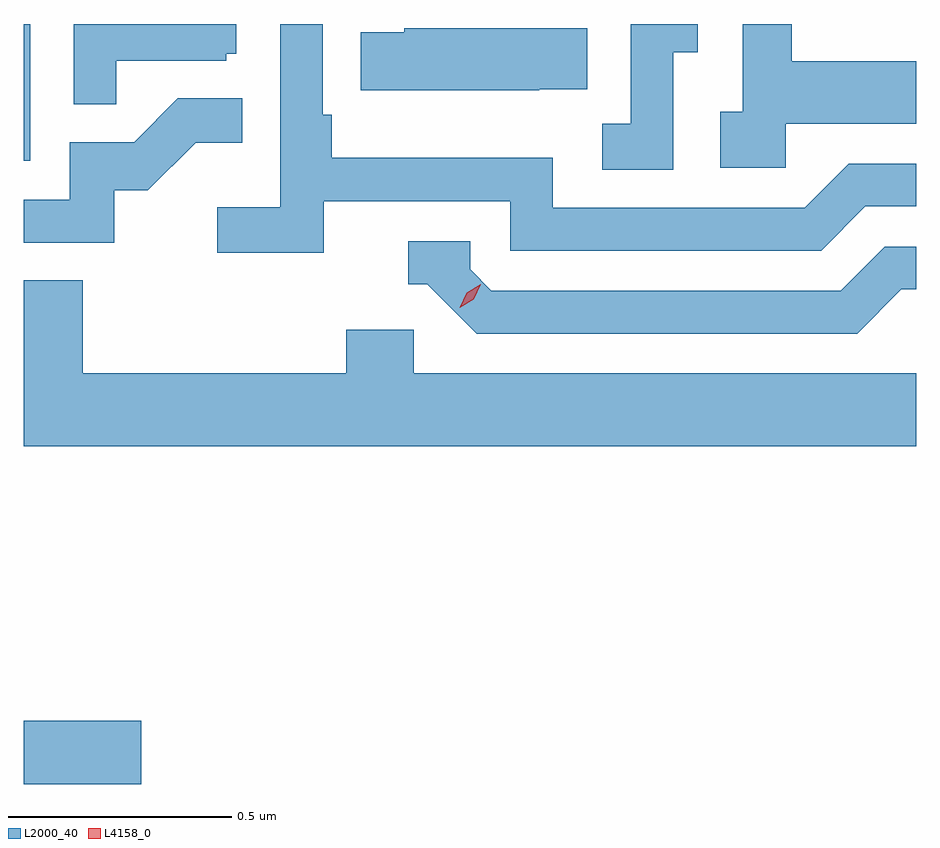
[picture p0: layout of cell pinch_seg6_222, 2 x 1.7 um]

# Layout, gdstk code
import gdstk
lib = gdstk.Library(unit=1e-6, precision=1e-09)
def R(c, l, rs):  # rectangles x0, y0, x1, y1
    for r in rs: c.add(gdstk.rectangle(r[:2], r[2:], *l))
def P(c, l, *ps):  # polygons
    for p in ps: c.add(gdstk.Polygon(p, *l))
L2000_40 = (2000, 40)
L4158_0 = (4158, 0)

pinch_seg6_222 = lib.new_cell('pinch_seg6_222')
R(pinch_seg6_222, L2000_40, [(1132.058,926.599,1132.321,926.741), (1132.058,927.996,1132.072,928.303)])
P(pinch_seg6_222, L2000_40, [(1132.73,927.906),(1133.148,927.906),(1133.148,927.795),(1133.845,927.795),(1133.944,927.894),(1134.058,927.894),(1134.058,927.99),(1133.907,927.99),(1133.808,927.891),(1133.244,927.891),(1133.244,928.003),(1132.748,928.003),(1132.748,928.099),(1132.728,928.099),(1132.728,928.303),(1132.632,928.303),(1132.632,927.892),(1132.491,927.892),(1132.491,927.79),(1132.73,927.79)],
  [(1132.265,928.221),(1132.512,928.221),(1132.512,928.236),(1132.534,928.236),(1132.534,928.303),(1132.17,928.303),(1132.17,928.123),(1132.265,928.123)],
  [(1133.514,928.24),(1133.569,928.24),(1133.569,928.303),(1133.418,928.303),(1133.418,928.079),(1133.355,928.079),(1133.355,927.976),(1133.514,927.976)],
  [(1133.766,928.079),(1134.058,928.079),(1134.058,928.219),(1133.779,928.219),(1133.779,928.303),(1133.67,928.303),(1133.67,928.106),(1133.619,928.106),(1133.619,927.981),(1133.766,927.981)],
  [(1133.213,928.157),(1133.321,928.157),(1133.321,928.294),(1132.911,928.294),(1132.911,928.284),(1132.813,928.284),(1132.813,928.154),(1133.213,928.154)],
  [(1132.26,927.93),(1132.336,927.93),(1132.443,928.037),(1132.547,928.037),(1132.547,928.136),(1132.403,928.136),(1132.305,928.038),(1132.161,928.038),(1132.161,927.909),(1132.058,927.909),(1132.058,927.813),(1132.26,927.813)],
  [(1134.025,927.708),(1134.058,927.708),(1134.058,927.804),(1133.988,927.804),(1133.889,927.705),(1133.106,927.705),(1133.058,927.753),(1133.058,927.816),(1132.919,927.816),(1132.919,927.72),(1132.962,927.72),(1133.073,927.609),(1133.926,927.609)],
  [(1134.058,927.52),(1132.932,927.52),(1132.932,927.618),(1132.781,927.618),(1132.781,927.52),(1132.19,927.52),(1132.19,927.728),(1132.058,927.728),(1132.058,927.356),(1134.058,927.356)])
P(pinch_seg6_222, L4158_0, [(1133.035,927.667),(1133.035,927.667),(1133.051,927.7),(1133.082,927.719),(1133.082,927.719),(1133.082,927.719),(1133.066,927.686),(1133.035,927.667)])

lib.write_gds('pinch_seg6_222.gds')
